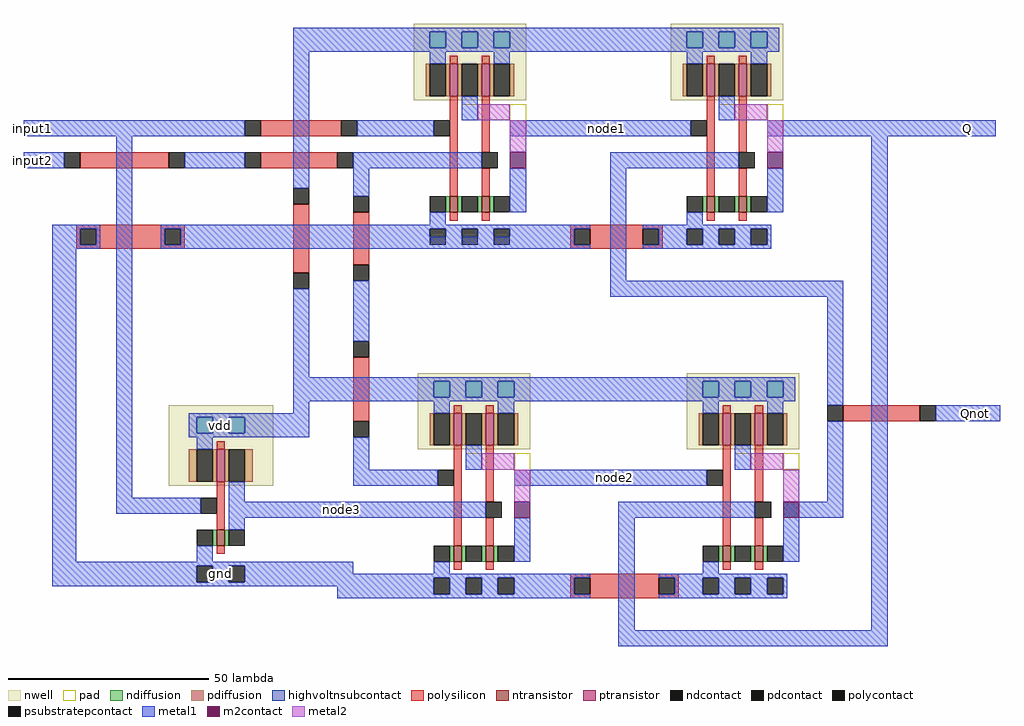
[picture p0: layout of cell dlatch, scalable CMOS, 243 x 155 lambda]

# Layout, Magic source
magic
tech scmos
<< nwell >>
rect -108 -81 -82 -61
<< polysilicon >>
rect -85 6 -65 10
rect -130 -2 -108 2
rect -85 -2 -66 2
rect -131 -17 -104 -16
rect -131 -21 -130 -17
rect -126 -21 -109 -17
rect -105 -21 -104 -17
rect -131 -22 -104 -21
rect -77 -28 -73 -11
rect -62 -26 -58 -13
rect -8 -17 15 -16
rect -8 -21 -7 -17
rect -3 -21 10 -17
rect 14 -21 15 -17
rect -8 -22 15 -21
rect -62 -65 -58 -49
rect 60 -65 79 -61
rect -96 -72 -94 -70
rect -96 -92 -94 -80
rect -96 -98 -94 -96
rect -8 -104 19 -103
rect -8 -108 -7 -104
rect -3 -108 14 -104
rect 18 -108 19 -104
rect -8 -109 19 -108
<< ndiffusion >>
rect -97 -96 -96 -92
rect -94 -96 -93 -92
<< pdiffusion >>
rect -103 -80 -101 -72
rect -97 -80 -96 -72
rect -94 -80 -93 -72
rect -89 -80 -87 -72
<< metal1 >>
rect -77 27 -46 33
rect -20 27 18 33
rect -144 6 -89 10
rect -144 -2 -134 2
rect -137 -17 -125 -16
rect -137 -21 -130 -17
rect -126 -21 -125 -17
rect -137 -22 -125 -21
rect -137 -100 -131 -22
rect -121 -84 -117 6
rect -104 -2 -89 2
rect -77 -7 -73 27
rect -61 6 -50 10
rect -23 6 14 10
rect 41 6 98 10
rect -62 -2 -50 2
rect 2 -2 17 2
rect -62 -9 -58 -2
rect -110 -17 -44 -16
rect -110 -21 -109 -17
rect -105 -19 -44 -17
rect -22 -17 -3 -16
rect -22 -19 -7 -17
rect -105 -21 -7 -19
rect -110 -22 -3 -21
rect -77 -54 -73 -32
rect -62 -45 -58 -30
rect 2 -30 6 -2
rect 10 -17 20 -16
rect 14 -21 20 -17
rect 10 -22 20 -21
rect 2 -34 60 -30
rect -77 -60 -45 -54
rect -19 -60 22 -54
rect -77 -63 -73 -60
rect -103 -64 -73 -63
rect -103 -68 -101 -64
rect -97 -68 -93 -64
rect -89 -68 -73 -64
rect 56 -61 60 -34
rect -103 -69 -73 -68
rect -101 -72 -97 -69
rect -121 -88 -100 -84
rect -93 -85 -89 -80
rect -62 -77 -58 -69
rect -62 -81 -48 -77
rect -22 -81 19 -77
rect 56 -85 60 -65
rect -93 -89 -49 -85
rect 4 -89 18 -85
rect 45 -89 60 -85
rect -93 -92 -89 -89
rect -101 -100 -97 -96
rect -137 -101 -62 -100
rect -137 -105 -101 -101
rect -97 -105 -93 -101
rect -89 -103 -62 -101
rect -89 -105 -42 -103
rect -137 -106 -42 -105
rect -66 -109 -42 -106
rect -21 -104 -3 -103
rect -21 -108 -7 -104
rect -21 -109 -3 -108
rect 4 -117 8 -89
rect 14 -104 24 -103
rect 18 -108 24 -104
rect 14 -109 24 -108
rect 67 -117 71 6
rect 83 -65 99 -61
rect 4 -121 71 -117
<< ntransistor >>
rect -96 -96 -94 -92
<< ptransistor >>
rect -96 -80 -94 -72
<< polycontact >>
rect -89 6 -85 10
rect -65 6 -61 10
rect -134 -2 -130 2
rect -108 -2 -104 2
rect -89 -2 -85 2
rect -66 -2 -62 2
rect -77 -11 -73 -7
rect -130 -21 -126 -17
rect -109 -21 -105 -17
rect -77 -32 -73 -28
rect -62 -13 -58 -9
rect -7 -21 -3 -17
rect 10 -21 14 -17
rect -62 -30 -58 -26
rect -62 -49 -58 -45
rect 56 -65 60 -61
rect 79 -65 83 -61
rect -62 -69 -58 -65
rect -100 -88 -96 -84
rect -7 -108 -3 -104
rect 14 -108 18 -104
<< ndcontact >>
rect -101 -96 -97 -92
rect -93 -96 -89 -92
<< pdcontact >>
rect -101 -80 -97 -72
rect -93 -80 -89 -72
<< psubstratepcontact >>
rect -101 -105 -97 -101
rect -93 -105 -89 -101
<< highvoltnsubcontact >>
rect -101 -68 -97 -64
rect -93 -68 -89 -64
<< pad >>
rect -23 6 -19 10
rect 41 6 45 10
rect -22 -81 -18 -77
use nand nand_0
transform 1 0 -34 0 1 14
box -16 -36 15 20
use nand nand_1
transform 1 0 30 0 1 14
box -16 -36 15 20
use nand nand_2
transform 1 0 -33 0 1 -73
box -16 -36 15 20
use nand nand_3
transform 1 0 34 0 1 -73
box -16 -36 15 20
<< labels >>
rlabel metal1 -95 -66 -95 -66 1 vdd
rlabel metal1 -95 -103 -95 -103 1 gnd
rlabel metal1 -142 8 -142 8 3 input1
rlabel metal1 -142 0 -142 0 3 input2
rlabel metal1 91 8 91 8 1 Q
rlabel metal1 93 -63 93 -63 1 Qnot
rlabel metal1 1 8 1 8 1 node1
rlabel metal1 3 -79 3 -79 1 node2
rlabel metal1 -65 -87 -65 -87 1 node3
<< end >>

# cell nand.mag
magic
tech scmos
<< nwell >>
rect -13 1 15 20
<< polysilicon >>
rect -4 10 -2 12
rect 4 10 6 12
rect -4 -23 -2 2
rect 4 -12 6 2
rect 4 -23 6 -16
rect -4 -29 -2 -27
rect 4 -29 6 -27
<< ndiffusion >>
rect -5 -27 -4 -23
rect -2 -27 -1 -23
rect 3 -27 4 -23
rect 6 -27 7 -23
<< pdiffusion >>
rect -10 2 -9 10
rect -5 2 -4 10
rect -2 2 -1 10
rect 3 2 4 10
rect 6 2 7 10
rect 11 2 12 10
<< metal1 >>
rect -12 18 14 19
rect -12 14 -9 18
rect -5 14 -1 18
rect 3 14 7 18
rect 11 14 14 18
rect -12 13 14 14
rect -9 10 -5 13
rect 7 10 11 13
rect -1 -4 3 2
rect -16 -8 -8 -4
rect -16 -16 4 -12
rect 11 -27 15 -16
rect -9 -30 -5 -27
rect -10 -31 12 -30
rect -10 -35 -9 -31
rect -5 -35 -1 -31
rect 3 -35 7 -31
rect 11 -35 12 -31
rect -10 -36 12 -35
<< metal2 >>
rect 3 -4 11 0
rect 11 -12 15 -4
<< ntransistor >>
rect -4 -27 -2 -23
rect 4 -27 6 -23
<< ptransistor >>
rect -4 2 -2 10
rect 4 2 6 10
<< polycontact >>
rect -8 -8 -4 -4
rect 4 -16 8 -12
<< ndcontact >>
rect -9 -27 -5 -23
rect -1 -27 3 -23
rect 7 -27 11 -23
<< pdcontact >>
rect -9 2 -5 10
rect -1 2 3 10
rect 7 2 11 10
<< m2contact >>
rect 11 -16 15 -12
<< psubstratepcontact >>
rect -9 -35 -5 -31
rect -1 -35 3 -31
rect 7 -35 11 -31
<< highvoltnsubcontact >>
rect -9 14 -5 18
rect -1 14 3 18
rect 7 14 11 18
<< pad >>
rect -1 -4 3 0
rect 11 -4 15 0
<< labels >>
rlabel metal1 5 16 5 16 5 vdd
rlabel metal1 5 -33 5 -33 1 gnd
rlabel metal1 -10 -6 -10 -6 1 in1
rlabel metal1 -9 -14 -9 -14 1 in2
rlabel metal2 13 -9 13 -9 7 out
<< end >>
